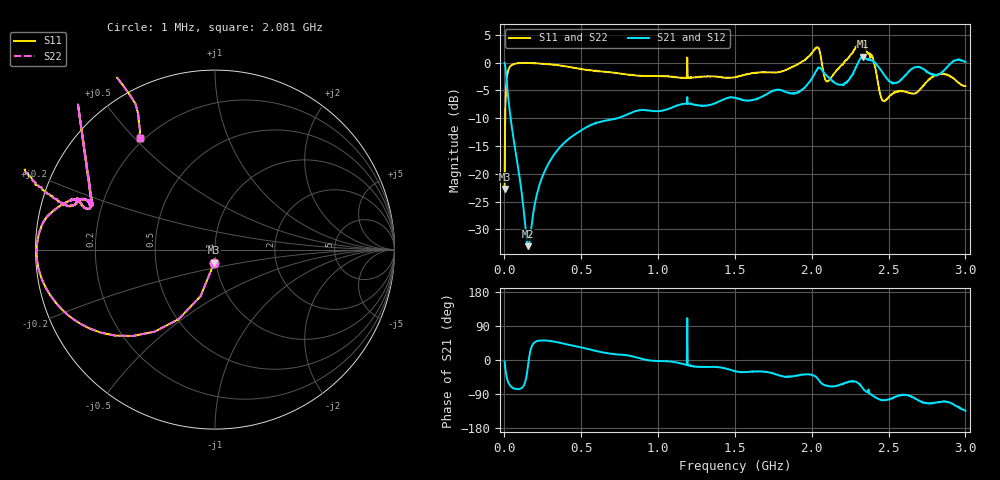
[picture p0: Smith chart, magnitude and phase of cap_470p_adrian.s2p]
! Touchstone file generated by RF Tool Suite
# Hz S RI R 50
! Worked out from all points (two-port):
!   1000 points, 1 MHz to 3 GHz, reference 50 ohm
!   highest |S21| = 1.09 dB at 2.331 GHz (marker M1); lowest = -33.0 dB at 154.1 MHz (marker M2)
!   |S21| within 3 dB of the highest: 2.271 GHz to 2.464 GHz (193 MHz wide, 8.15 % of centre); 2.838 GHz to end of sweep (the widest 2 of 5)
!   lowest |S11| = -22.7 dB at 1 MHz (marker M3), VSWR 1.16, Z = 49.1 - j7.18 ohm
!   |S11| at or under -10 dB: start of sweep to 4.953 MHz
!   |S22| runs from -22.7 to 4.0 dB; largest |S21 - S12| = 0
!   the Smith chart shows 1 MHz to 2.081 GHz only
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1000000  -0.00424 -0.0728  0.9911 -0.0672  0.9911 -0.0672  -0.00424 -0.0728
2.801802e7  -0.7863 -0.3898  0.206 -0.3852  0.206 -0.3852  -0.7863 -0.3898
1.541021e8  -0.993 0.0159  0.0218 -0.00491  0.0218 -0.00491  -0.993 0.0159
2.711802e8  -0.9592 0.147  0.0706 0.0876  0.0706 0.0876  -0.9592 0.147
5.023343e8  -0.8322 0.2627  0.2076 0.1343  0.2076 0.1343  -0.8322 0.2627
1.003669e9  -0.706 0.2738  0.3657 -0.0183  0.3657 -0.0183  -0.706 0.2738
1.502001e9  -0.7046 0.226  0.4194 -0.2393  0.4194 -0.2393  -0.7046 0.226
1.862241e9  -0.8587 0.2624  0.3839 -0.3648  0.3839 -0.3648  -0.8587 0.2624
2.003335e9  -1.107 0.5409  0.564 -0.4642  0.564 -0.4642  -1.107 0.5409
2.048365e9  -0.8182 1.02  0.5273 -0.7285  0.5273 -0.7285  -0.8182 1.02
2.078385e9  -0.418 0.6641  0.3327 -0.7399  0.3327 -0.7399  -0.418 0.6641
2.126417e9  -0.6376 0.3696  0.2481 -0.656  0.2481 -0.656  -0.6376 0.3696
2.219479e9  -0.9407 0.4522  0.3318 -0.5747  0.3318 -0.5747  -0.9407 0.4522
2.297532e9  -1.135 0.886  0.4847 -0.8355  0.4847 -0.8355  -1.135 0.886
2.330554e9  -0.8232 1.309  0.3114 -1.089  0.3114 -1.089  -0.8232 1.309
2.417612e9  0.053 0.8367  -0.1506 -0.9696  -0.1506 -0.9696  0.053 0.8367
2.453636e9  -0.0887 0.466  -0.2297 -0.8115  -0.2297 -0.8115  -0.0887 0.466
2.501668e9  -0.3161 0.3774  -0.1636 -0.6613  -0.1636 -0.6613  -0.3161 0.3774
2.600734e9  -0.3859 0.3928  -0.0254 -0.747  -0.0254 -0.747  -0.3859 0.3928
2.732822e9  -0.5426 0.3279  -0.3391 -0.7924  -0.3391 -0.7924  -0.5426 0.3279
2.858906e9  -0.5625 0.56  -0.2754 -0.7973  -0.2754 -0.7973  -0.5625 0.56
3e9  -0.4048 0.4643  -0.7055 -0.7284  -0.7055 -0.7284  -0.4048 0.4643
